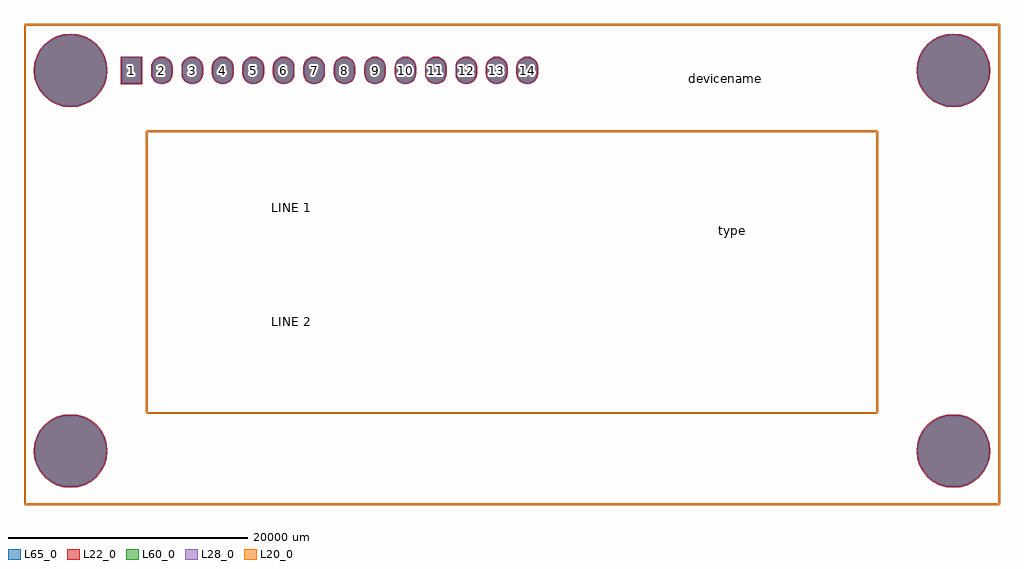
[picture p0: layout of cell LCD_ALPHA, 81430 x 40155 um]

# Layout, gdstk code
import gdstk
lib = gdstk.Library(unit=1e-6, precision=1e-09)
def R(c, l, rs):  # rectangles x0, y0, x1, y1
    for r in rs: c.add(gdstk.rectangle(r[:2], r[2:], *l))
def P(c, l, *ps):  # polygons
    for p in ps: c.add(gdstk.Polygon(p, *l))
L20_0 = (20, 0)
L22_0 = (22, 0)
L28_0 = (28, 0)
L60_0 = (60, 0)
L65_0 = (65, 0)

lcd_alpha = lib.new_cell('LCD_ALPHA')
R(lcd_alpha, L22_0, [(-17410.5,-1154.5,-15609.5,1154.5)])
P(lcd_alpha, L22_0, [(55144.74,-31750),(55085.66,-31150.148),(54910.689,-30573.348),(54626.553,-30041.766),(54244.17,-29575.83),(53778.234,-29193.447),(53246.652,-28909.311),(52669.852,-28734.34),(52070,-28675.26),(51470.148,-28734.34),(50893.348,-28909.311),(50361.766,-29193.447),(49895.83,-29575.83),(49513.447,-30041.766),(49229.311,-30573.348),(49054.34,-31150.148),(48995.26,-31750),(49054.34,-32349.852),(49229.311,-32926.652),(49513.447,-33458.234),(49895.83,-33924.17),(50361.766,-34306.553),(50893.348,-34590.689),(51470.148,-34765.66),(52070,-34824.74),(52669.852,-34765.66),(53246.652,-34590.689),(53778.234,-34306.553),(54244.17,-33924.17),(54626.553,-33458.234),(54910.689,-32926.652),(55085.66,-32349.852)],
  [(-18515.26,-31750),(-18574.34,-31150.148),(-18749.311,-30573.348),(-19033.447,-30041.766),(-19415.83,-29575.83),(-19881.766,-29193.447),(-20413.348,-28909.311),(-20990.148,-28734.34),(-21590,-28675.26),(-22189.852,-28734.34),(-22766.652,-28909.311),(-23298.234,-29193.447),(-23764.17,-29575.83),(-24146.553,-30041.766),(-24430.689,-30573.348),(-24605.66,-31150.148),(-24664.74,-31750),(-24605.66,-32349.852),(-24430.689,-32926.652),(-24146.553,-33458.234),(-23764.17,-33924.17),(-23298.234,-34306.553),(-22766.652,-34590.689),(-22189.852,-34765.66),(-21590,-34824.74),(-20990.148,-34765.66),(-20413.348,-34590.689),(-19881.766,-34306.553),(-19415.83,-33924.17),(-19033.447,-33458.234),(-18749.311,-32926.652),(-18574.34,-32349.852)],
  [(55144.74,0),(55085.66,599.852),(54910.689,1176.652),(54626.553,1708.234),(54244.17,2174.17),(53778.234,2556.553),(53246.652,2840.689),(52669.852,3015.66),(52070,3074.74),(51470.148,3015.66),(50893.348,2840.689),(50361.766,2556.553),(49895.83,2174.17),(49513.447,1708.234),(49229.311,1176.652),(49054.34,599.852),(48995.26,0),(49054.34,-599.852),(49229.311,-1176.652),(49513.447,-1708.234),(49895.83,-2174.17),(50361.766,-2556.553),(50893.348,-2840.689),(51470.148,-3015.66),(52070,-3074.74),(52669.852,-3015.66),(53246.652,-2840.689),(53778.234,-2556.553),(54244.17,-2174.17),(54626.553,-1708.234),(54910.689,-1176.652),(55085.66,-599.852)],
  [(-18515.26,0),(-18574.34,599.852),(-18749.311,1176.652),(-19033.447,1708.234),(-19415.83,2174.17),(-19881.766,2556.553),(-20413.348,2840.689),(-20990.148,3015.66),(-21590,3074.74),(-22189.852,3015.66),(-22766.652,2840.689),(-23298.234,2556.553),(-23764.17,2174.17),(-24146.553,1708.234),(-24430.689,1176.652),(-24605.66,599.852),(-24664.74,0),(-24605.66,-599.852),(-24430.689,-1176.652),(-24146.553,-1708.234),(-23764.17,-2174.17),(-23298.234,-2556.553),(-22766.652,-2840.689),(-22189.852,-3015.66),(-21590,-3074.74),(-20990.148,-3015.66),(-20413.348,-2840.689),(-19881.766,-2556.553),(-19415.83,-2174.17),(-19033.447,-1708.234),(-18749.311,-1176.652),(-18574.34,-599.852)],
  [(16510,-1154.5),(16743.067,-1123.816),(16960.25,-1033.856),(17146.75,-890.75),(17289.856,-704.25),(17379.816,-487.067),(17410.5,-254),(17410.5,254),(17379.816,487.067),(17289.856,704.25),(17146.75,890.75),(16960.25,1033.856),(16743.067,1123.816),(16510,1154.5),(16276.933,1123.816),(16059.75,1033.856),(15873.25,890.75),(15730.144,704.25),(15640.184,487.067),(15609.5,254),(15609.5,-254),(15640.184,-487.067),(15730.144,-704.25),(15873.25,-890.75),(16059.75,-1033.856),(16276.933,-1123.816)],
  [(13970,-1154.5),(14203.067,-1123.816),(14420.25,-1033.856),(14606.75,-890.75),(14749.856,-704.25),(14839.816,-487.067),(14870.5,-254),(14870.5,254),(14839.816,487.067),(14749.856,704.25),(14606.75,890.75),(14420.25,1033.856),(14203.067,1123.816),(13970,1154.5),(13736.933,1123.816),(13519.75,1033.856),(13333.25,890.75),(13190.144,704.25),(13100.184,487.067),(13069.5,254),(13069.5,-254),(13100.184,-487.067),(13190.144,-704.25),(13333.25,-890.75),(13519.75,-1033.856),(13736.933,-1123.816)],
  [(11430,-1154.5),(11663.067,-1123.816),(11880.25,-1033.856),(12066.75,-890.75),(12209.856,-704.25),(12299.816,-487.067),(12330.5,-254),(12330.5,254),(12299.816,487.067),(12209.856,704.25),(12066.75,890.75),(11880.25,1033.856),(11663.067,1123.816),(11430,1154.5),(11196.933,1123.816),(10979.75,1033.856),(10793.25,890.75),(10650.144,704.25),(10560.184,487.067),(10529.5,254),(10529.5,-254),(10560.184,-487.067),(10650.144,-704.25),(10793.25,-890.75),(10979.75,-1033.856),(11196.933,-1123.816)],
  [(8890,-1154.5),(9123.067,-1123.816),(9340.25,-1033.856),(9526.75,-890.75),(9669.856,-704.25),(9759.816,-487.067),(9790.5,-254),(9790.5,254),(9759.816,487.067),(9669.856,704.25),(9526.75,890.75),(9340.25,1033.856),(9123.067,1123.816),(8890,1154.5),(8656.933,1123.816),(8439.75,1033.856),(8253.25,890.75),(8110.144,704.25),(8020.184,487.067),(7989.5,254),(7989.5,-254),(8020.184,-487.067),(8110.144,-704.25),(8253.25,-890.75),(8439.75,-1033.856),(8656.933,-1123.816)],
  [(6350,-1154.5),(6583.067,-1123.816),(6800.25,-1033.856),(6986.75,-890.75),(7129.856,-704.25),(7219.816,-487.067),(7250.5,-254),(7250.5,254),(7219.816,487.067),(7129.856,704.25),(6986.75,890.75),(6800.25,1033.856),(6583.067,1123.816),(6350,1154.5),(6116.933,1123.816),(5899.75,1033.856),(5713.25,890.75),(5570.144,704.25),(5480.184,487.067),(5449.5,254),(5449.5,-254),(5480.184,-487.067),(5570.144,-704.25),(5713.25,-890.75),(5899.75,-1033.856),(6116.933,-1123.816)],
  [(3810,-1154.5),(4043.067,-1123.816),(4260.25,-1033.856),(4446.75,-890.75),(4589.856,-704.25),(4679.816,-487.067),(4710.5,-254),(4710.5,254),(4679.816,487.067),(4589.856,704.25),(4446.75,890.75),(4260.25,1033.856),(4043.067,1123.816),(3810,1154.5),(3576.933,1123.816),(3359.75,1033.856),(3173.25,890.75),(3030.144,704.25),(2940.184,487.067),(2909.5,254),(2909.5,-254),(2940.184,-487.067),(3030.144,-704.25),(3173.25,-890.75),(3359.75,-1033.856),(3576.933,-1123.816)],
  [(1270,-1154.5),(1503.067,-1123.816),(1720.25,-1033.856),(1906.75,-890.75),(2049.856,-704.25),(2139.816,-487.067),(2170.5,-254),(2170.5,254),(2139.816,487.067),(2049.856,704.25),(1906.75,890.75),(1720.25,1033.856),(1503.067,1123.816),(1270,1154.5),(1036.933,1123.816),(819.75,1033.856),(633.25,890.75),(490.144,704.25),(400.184,487.067),(369.5,254),(369.5,-254),(400.184,-487.067),(490.144,-704.25),(633.25,-890.75),(819.75,-1033.856),(1036.933,-1123.816)],
  [(-1270,-1154.5),(-1036.933,-1123.816),(-819.75,-1033.856),(-633.25,-890.75),(-490.144,-704.25),(-400.184,-487.067),(-369.5,-254),(-369.5,254),(-400.184,487.067),(-490.144,704.25),(-633.25,890.75),(-819.75,1033.856),(-1036.933,1123.816),(-1270,1154.5),(-1503.067,1123.816),(-1720.25,1033.856),(-1906.75,890.75),(-2049.856,704.25),(-2139.816,487.067),(-2170.5,254),(-2170.5,-254),(-2139.816,-487.067),(-2049.856,-704.25),(-1906.75,-890.75),(-1720.25,-1033.856),(-1503.067,-1123.816)],
  [(-3810,-1154.5),(-3576.933,-1123.816),(-3359.75,-1033.856),(-3173.25,-890.75),(-3030.144,-704.25),(-2940.184,-487.067),(-2909.5,-254),(-2909.5,254),(-2940.184,487.067),(-3030.144,704.25),(-3173.25,890.75),(-3359.75,1033.856),(-3576.933,1123.816),(-3810,1154.5),(-4043.067,1123.816),(-4260.25,1033.856),(-4446.75,890.75),(-4589.856,704.25),(-4679.816,487.067),(-4710.5,254),(-4710.5,-254),(-4679.816,-487.067),(-4589.856,-704.25),(-4446.75,-890.75),(-4260.25,-1033.856),(-4043.067,-1123.816)],
  [(-6350,-1154.5),(-6116.933,-1123.816),(-5899.75,-1033.856),(-5713.25,-890.75),(-5570.144,-704.25),(-5480.184,-487.067),(-5449.5,-254),(-5449.5,254),(-5480.184,487.067),(-5570.144,704.25),(-5713.25,890.75),(-5899.75,1033.856),(-6116.933,1123.816),(-6350,1154.5),(-6583.067,1123.816),(-6800.25,1033.856),(-6986.75,890.75),(-7129.856,704.25),(-7219.816,487.067),(-7250.5,254),(-7250.5,-254),(-7219.816,-487.067),(-7129.856,-704.25),(-6986.75,-890.75),(-6800.25,-1033.856),(-6583.067,-1123.816)],
  [(-8890,-1154.5),(-8656.933,-1123.816),(-8439.75,-1033.856),(-8253.25,-890.75),(-8110.144,-704.25),(-8020.184,-487.067),(-7989.5,-254),(-7989.5,254),(-8020.184,487.067),(-8110.144,704.25),(-8253.25,890.75),(-8439.75,1033.856),(-8656.933,1123.816),(-8890,1154.5),(-9123.067,1123.816),(-9340.25,1033.856),(-9526.75,890.75),(-9669.856,704.25),(-9759.816,487.067),(-9790.5,254),(-9790.5,-254),(-9759.816,-487.067),(-9669.856,-704.25),(-9526.75,-890.75),(-9340.25,-1033.856),(-9123.067,-1123.816)],
  [(-11430,-1154.5),(-11196.933,-1123.816),(-10979.75,-1033.856),(-10793.25,-890.75),(-10650.144,-704.25),(-10560.184,-487.067),(-10529.5,-254),(-10529.5,254),(-10560.184,487.067),(-10650.144,704.25),(-10793.25,890.75),(-10979.75,1033.856),(-11196.933,1123.816),(-11430,1154.5),(-11663.067,1123.816),(-11880.25,1033.856),(-12066.75,890.75),(-12209.856,704.25),(-12299.816,487.067),(-12330.5,254),(-12330.5,-254),(-12299.816,-487.067),(-12209.856,-704.25),(-12066.75,-890.75),(-11880.25,-1033.856),(-11663.067,-1123.816)],
  [(-13970,-1154.5),(-13736.933,-1123.816),(-13519.75,-1033.856),(-13333.25,-890.75),(-13190.144,-704.25),(-13100.184,-487.067),(-13069.5,-254),(-13069.5,254),(-13100.184,487.067),(-13190.144,704.25),(-13333.25,890.75),(-13519.75,1033.856),(-13736.933,1123.816),(-13970,1154.5),(-14203.067,1123.816),(-14420.25,1033.856),(-14606.75,890.75),(-14749.856,704.25),(-14839.816,487.067),(-14870.5,254),(-14870.5,-254),(-14839.816,-487.067),(-14749.856,-704.25),(-14606.75,-890.75),(-14420.25,-1033.856),(-14203.067,-1123.816)])
R(lcd_alpha, L28_0, [(-17335.5,-1079.5,-15684.5,1079.5)])
P(lcd_alpha, L28_0, [(55069.74,-31750),(55012.101,-31164.78),(54841.398,-30602.049),(54564.193,-30083.434),(54191.136,-29628.864),(53736.566,-29255.807),(53217.951,-28978.602),(52655.22,-28807.899),(52070,-28750.26),(51484.78,-28807.899),(50922.049,-28978.602),(50403.434,-29255.807),(49948.864,-29628.864),(49575.807,-30083.434),(49298.602,-30602.049),(49127.899,-31164.78),(49070.26,-31750),(49127.899,-32335.22),(49298.602,-32897.951),(49575.807,-33416.566),(49948.864,-33871.136),(50403.434,-34244.193),(50922.049,-34521.398),(51484.78,-34692.101),(52070,-34749.74),(52655.22,-34692.101),(53217.951,-34521.398),(53736.566,-34244.193),(54191.136,-33871.136),(54564.193,-33416.566),(54841.398,-32897.951),(55012.101,-32335.22)],
  [(-18590.26,-31750),(-18647.899,-31164.78),(-18818.602,-30602.049),(-19095.807,-30083.434),(-19468.864,-29628.864),(-19923.434,-29255.807),(-20442.049,-28978.602),(-21004.78,-28807.899),(-21590,-28750.26),(-22175.22,-28807.899),(-22737.951,-28978.602),(-23256.566,-29255.807),(-23711.136,-29628.864),(-24084.193,-30083.434),(-24361.398,-30602.049),(-24532.101,-31164.78),(-24589.74,-31750),(-24532.101,-32335.22),(-24361.398,-32897.951),(-24084.193,-33416.566),(-23711.136,-33871.136),(-23256.566,-34244.193),(-22737.951,-34521.398),(-22175.22,-34692.101),(-21590,-34749.74),(-21004.78,-34692.101),(-20442.049,-34521.398),(-19923.434,-34244.193),(-19468.864,-33871.136),(-19095.807,-33416.566),(-18818.602,-32897.951),(-18647.899,-32335.22)],
  [(55069.74,0),(55012.101,585.22),(54841.398,1147.951),(54564.193,1666.566),(54191.136,2121.136),(53736.566,2494.193),(53217.951,2771.398),(52655.22,2942.101),(52070,2999.74),(51484.78,2942.101),(50922.049,2771.398),(50403.434,2494.193),(49948.864,2121.136),(49575.807,1666.566),(49298.602,1147.951),(49127.899,585.22),(49070.26,0),(49127.899,-585.22),(49298.602,-1147.951),(49575.807,-1666.566),(49948.864,-2121.136),(50403.434,-2494.193),(50922.049,-2771.398),(51484.78,-2942.101),(52070,-2999.74),(52655.22,-2942.101),(53217.951,-2771.398),(53736.566,-2494.193),(54191.136,-2121.136),(54564.193,-1666.566),(54841.398,-1147.951),(55012.101,-585.22)],
  [(-18590.26,0),(-18647.899,585.22),(-18818.602,1147.951),(-19095.807,1666.566),(-19468.864,2121.136),(-19923.434,2494.193),(-20442.049,2771.398),(-21004.78,2942.101),(-21590,2999.74),(-22175.22,2942.101),(-22737.951,2771.398),(-23256.566,2494.193),(-23711.136,2121.136),(-24084.193,1666.566),(-24361.398,1147.951),(-24532.101,585.22),(-24589.74,0),(-24532.101,-585.22),(-24361.398,-1147.951),(-24084.193,-1666.566),(-23711.136,-2121.136),(-23256.566,-2494.193),(-22737.951,-2771.398),(-22175.22,-2942.101),(-21590,-2999.74),(-21004.78,-2942.101),(-20442.049,-2771.398),(-19923.434,-2494.193),(-19468.864,-2121.136),(-19095.807,-1666.566),(-18818.602,-1147.951),(-18647.899,-585.22)],
  [(16510,-1079.5),(16723.655,-1051.372),(16922.75,-968.904),(17093.717,-837.717),(17224.904,-666.75),(17307.372,-467.655),(17335.5,-254),(17335.5,254),(17307.372,467.655),(17224.904,666.75),(17093.717,837.717),(16922.75,968.904),(16723.655,1051.372),(16510,1079.5),(16296.345,1051.372),(16097.25,968.904),(15926.283,837.717),(15795.096,666.75),(15712.628,467.655),(15684.5,254),(15684.5,-254),(15712.628,-467.655),(15795.096,-666.75),(15926.283,-837.717),(16097.25,-968.904),(16296.345,-1051.372)],
  [(13970,-1079.5),(14183.655,-1051.372),(14382.75,-968.904),(14553.717,-837.717),(14684.904,-666.75),(14767.372,-467.655),(14795.5,-254),(14795.5,254),(14767.372,467.655),(14684.904,666.75),(14553.717,837.717),(14382.75,968.904),(14183.655,1051.372),(13970,1079.5),(13756.345,1051.372),(13557.25,968.904),(13386.283,837.717),(13255.096,666.75),(13172.628,467.655),(13144.5,254),(13144.5,-254),(13172.628,-467.655),(13255.096,-666.75),(13386.283,-837.717),(13557.25,-968.904),(13756.345,-1051.372)],
  [(11430,-1079.5),(11643.655,-1051.372),(11842.75,-968.904),(12013.717,-837.717),(12144.904,-666.75),(12227.372,-467.655),(12255.5,-254),(12255.5,254),(12227.372,467.655),(12144.904,666.75),(12013.717,837.717),(11842.75,968.904),(11643.655,1051.372),(11430,1079.5),(11216.345,1051.372),(11017.25,968.904),(10846.283,837.717),(10715.096,666.75),(10632.628,467.655),(10604.5,254),(10604.5,-254),(10632.628,-467.655),(10715.096,-666.75),(10846.283,-837.717),(11017.25,-968.904),(11216.345,-1051.372)],
  [(8890,-1079.5),(9103.655,-1051.372),(9302.75,-968.904),(9473.717,-837.717),(9604.904,-666.75),(9687.372,-467.655),(9715.5,-254),(9715.5,254),(9687.372,467.655),(9604.904,666.75),(9473.717,837.717),(9302.75,968.904),(9103.655,1051.372),(8890,1079.5),(8676.345,1051.372),(8477.25,968.904),(8306.283,837.717),(8175.096,666.75),(8092.628,467.655),(8064.5,254),(8064.5,-254),(8092.628,-467.655),(8175.096,-666.75),(8306.283,-837.717),(8477.25,-968.904),(8676.345,-1051.372)],
  [(6350,-1079.5),(6563.655,-1051.372),(6762.75,-968.904),(6933.717,-837.717),(7064.904,-666.75),(7147.372,-467.655),(7175.5,-254),(7175.5,254),(7147.372,467.655),(7064.904,666.75),(6933.717,837.717),(6762.75,968.904),(6563.655,1051.372),(6350,1079.5),(6136.345,1051.372),(5937.25,968.904),(5766.283,837.717),(5635.096,666.75),(5552.628,467.655),(5524.5,254),(5524.5,-254),(5552.628,-467.655),(5635.096,-666.75),(5766.283,-837.717),(5937.25,-968.904),(6136.345,-1051.372)],
  [(3810,-1079.5),(4023.655,-1051.372),(4222.75,-968.904),(4393.717,-837.717),(4524.904,-666.75),(4607.372,-467.655),(4635.5,-254),(4635.5,254),(4607.372,467.655),(4524.904,666.75),(4393.717,837.717),(4222.75,968.904),(4023.655,1051.372),(3810,1079.5),(3596.345,1051.372),(3397.25,968.904),(3226.283,837.717),(3095.096,666.75),(3012.628,467.655),(2984.5,254),(2984.5,-254),(3012.628,-467.655),(3095.096,-666.75),(3226.283,-837.717),(3397.25,-968.904),(3596.345,-1051.372)],
  [(1270,-1079.5),(1483.655,-1051.372),(1682.75,-968.904),(1853.717,-837.717),(1984.904,-666.75),(2067.372,-467.655),(2095.5,-254),(2095.5,254),(2067.372,467.655),(1984.904,666.75),(1853.717,837.717),(1682.75,968.904),(1483.655,1051.372),(1270,1079.5),(1056.345,1051.372),(857.25,968.904),(686.283,837.717),(555.096,666.75),(472.628,467.655),(444.5,254),(444.5,-254),(472.628,-467.655),(555.096,-666.75),(686.283,-837.717),(857.25,-968.904),(1056.345,-1051.372)],
  [(-1270,-1079.5),(-1056.345,-1051.372),(-857.25,-968.904),(-686.283,-837.717),(-555.096,-666.75),(-472.628,-467.655),(-444.5,-254),(-444.5,254),(-472.628,467.655),(-555.096,666.75),(-686.283,837.717),(-857.25,968.904),(-1056.345,1051.372),(-1270,1079.5),(-1483.655,1051.372),(-1682.75,968.904),(-1853.717,837.717),(-1984.904,666.75),(-2067.372,467.655),(-2095.5,254),(-2095.5,-254),(-2067.372,-467.655),(-1984.904,-666.75),(-1853.717,-837.717),(-1682.75,-968.904),(-1483.655,-1051.372)],
  [(-3810,-1079.5),(-3596.345,-1051.372),(-3397.25,-968.904),(-3226.283,-837.717),(-3095.096,-666.75),(-3012.628,-467.655),(-2984.5,-254),(-2984.5,254),(-3012.628,467.655),(-3095.096,666.75),(-3226.283,837.717),(-3397.25,968.904),(-3596.345,1051.372),(-3810,1079.5),(-4023.655,1051.372),(-4222.75,968.904),(-4393.717,837.717),(-4524.904,666.75),(-4607.372,467.655),(-4635.5,254),(-4635.5,-254),(-4607.372,-467.655),(-4524.904,-666.75),(-4393.717,-837.717),(-4222.75,-968.904),(-4023.655,-1051.372)],
  [(-6350,-1079.5),(-6136.345,-1051.372),(-5937.25,-968.904),(-5766.283,-837.717),(-5635.096,-666.75),(-5552.628,-467.655),(-5524.5,-254),(-5524.5,254),(-5552.628,467.655),(-5635.096,666.75),(-5766.283,837.717),(-5937.25,968.904),(-6136.345,1051.372),(-6350,1079.5),(-6563.655,1051.372),(-6762.75,968.904),(-6933.717,837.717),(-7064.904,666.75),(-7147.372,467.655),(-7175.5,254),(-7175.5,-254),(-7147.372,-467.655),(-7064.904,-666.75),(-6933.717,-837.717),(-6762.75,-968.904),(-6563.655,-1051.372)],
  [(-8890,-1079.5),(-8676.345,-1051.372),(-8477.25,-968.904),(-8306.283,-837.717),(-8175.096,-666.75),(-8092.628,-467.655),(-8064.5,-254),(-8064.5,254),(-8092.628,467.655),(-8175.096,666.75),(-8306.283,837.717),(-8477.25,968.904),(-8676.345,1051.372),(-8890,1079.5),(-9103.655,1051.372),(-9302.75,968.904),(-9473.717,837.717),(-9604.904,666.75),(-9687.372,467.655),(-9715.5,254),(-9715.5,-254),(-9687.372,-467.655),(-9604.904,-666.75),(-9473.717,-837.717),(-9302.75,-968.904),(-9103.655,-1051.372)],
  [(-11430,-1079.5),(-11216.345,-1051.372),(-11017.25,-968.904),(-10846.283,-837.717),(-10715.096,-666.75),(-10632.628,-467.655),(-10604.5,-254),(-10604.5,254),(-10632.628,467.655),(-10715.096,666.75),(-10846.283,837.717),(-11017.25,968.904),(-11216.345,1051.372),(-11430,1079.5),(-11643.655,1051.372),(-11842.75,968.904),(-12013.717,837.717),(-12144.904,666.75),(-12227.372,467.655),(-12255.5,254),(-12255.5,-254),(-12227.372,-467.655),(-12144.904,-666.75),(-12013.717,-837.717),(-11842.75,-968.904),(-11643.655,-1051.372)],
  [(-13970,-1079.5),(-13756.345,-1051.372),(-13557.25,-968.904),(-13386.283,-837.717),(-13255.096,-666.75),(-13172.628,-467.655),(-13144.5,-254),(-13144.5,254),(-13172.628,467.655),(-13255.096,666.75),(-13386.283,837.717),(-13557.25,968.904),(-13756.345,1051.372),(-13970,1079.5),(-14183.655,1051.372),(-14382.75,968.904),(-14553.717,837.717),(-14684.904,666.75),(-14767.372,467.655),(-14795.5,254),(-14795.5,-254),(-14767.372,-467.655),(-14684.904,-666.75),(-14553.717,-837.717),(-14382.75,-968.904),(-14183.655,-1051.372)])
R(lcd_alpha, L60_0, [(-17335.5,-1079.5,-15684.5,1079.5)])
P(lcd_alpha, L60_0, [(55069.74,-31750),(55012.101,-31164.78),(54841.398,-30602.049),(54564.193,-30083.434),(54191.136,-29628.864),(53736.566,-29255.807),(53217.951,-28978.602),(52655.22,-28807.899),(52070,-28750.26),(51484.78,-28807.899),(50922.049,-28978.602),(50403.434,-29255.807),(49948.864,-29628.864),(49575.807,-30083.434),(49298.602,-30602.049),(49127.899,-31164.78),(49070.26,-31750),(49127.899,-32335.22),(49298.602,-32897.951),(49575.807,-33416.566),(49948.864,-33871.136),(50403.434,-34244.193),(50922.049,-34521.398),(51484.78,-34692.101),(52070,-34749.74),(52655.22,-34692.101),(53217.951,-34521.398),(53736.566,-34244.193),(54191.136,-33871.136),(54564.193,-33416.566),(54841.398,-32897.951),(55012.101,-32335.22)],
  [(-18590.26,-31750),(-18647.899,-31164.78),(-18818.602,-30602.049),(-19095.807,-30083.434),(-19468.864,-29628.864),(-19923.434,-29255.807),(-20442.049,-28978.602),(-21004.78,-28807.899),(-21590,-28750.26),(-22175.22,-28807.899),(-22737.951,-28978.602),(-23256.566,-29255.807),(-23711.136,-29628.864),(-24084.193,-30083.434),(-24361.398,-30602.049),(-24532.101,-31164.78),(-24589.74,-31750),(-24532.101,-32335.22),(-24361.398,-32897.951),(-24084.193,-33416.566),(-23711.136,-33871.136),(-23256.566,-34244.193),(-22737.951,-34521.398),(-22175.22,-34692.101),(-21590,-34749.74),(-21004.78,-34692.101),(-20442.049,-34521.398),(-19923.434,-34244.193),(-19468.864,-33871.136),(-19095.807,-33416.566),(-18818.602,-32897.951),(-18647.899,-32335.22)],
  [(55069.74,0),(55012.101,585.22),(54841.398,1147.951),(54564.193,1666.566),(54191.136,2121.136),(53736.566,2494.193),(53217.951,2771.398),(52655.22,2942.101),(52070,2999.74),(51484.78,2942.101),(50922.049,2771.398),(50403.434,2494.193),(49948.864,2121.136),(49575.807,1666.566),(49298.602,1147.951),(49127.899,585.22),(49070.26,0),(49127.899,-585.22),(49298.602,-1147.951),(49575.807,-1666.566),(49948.864,-2121.136),(50403.434,-2494.193),(50922.049,-2771.398),(51484.78,-2942.101),(52070,-2999.74),(52655.22,-2942.101),(53217.951,-2771.398),(53736.566,-2494.193),(54191.136,-2121.136),(54564.193,-1666.566),(54841.398,-1147.951),(55012.101,-585.22)],
  [(-18590.26,0),(-18647.899,585.22),(-18818.602,1147.951),(-19095.807,1666.566),(-19468.864,2121.136),(-19923.434,2494.193),(-20442.049,2771.398),(-21004.78,2942.101),(-21590,2999.74),(-22175.22,2942.101),(-22737.951,2771.398),(-23256.566,2494.193),(-23711.136,2121.136),(-24084.193,1666.566),(-24361.398,1147.951),(-24532.101,585.22),(-24589.74,0),(-24532.101,-585.22),(-24361.398,-1147.951),(-24084.193,-1666.566),(-23711.136,-2121.136),(-23256.566,-2494.193),(-22737.951,-2771.398),(-22175.22,-2942.101),(-21590,-2999.74),(-21004.78,-2942.101),(-20442.049,-2771.398),(-19923.434,-2494.193),(-19468.864,-2121.136),(-19095.807,-1666.566),(-18818.602,-1147.951),(-18647.899,-585.22)],
  [(16510,-1079.5),(16723.655,-1051.372),(16922.75,-968.904),(17093.717,-837.717),(17224.904,-666.75),(17307.372,-467.655),(17335.5,-254),(17335.5,254),(17307.372,467.655),(17224.904,666.75),(17093.717,837.717),(16922.75,968.904),(16723.655,1051.372),(16510,1079.5),(16296.345,1051.372),(16097.25,968.904),(15926.283,837.717),(15795.096,666.75),(15712.628,467.655),(15684.5,254),(15684.5,-254),(15712.628,-467.655),(15795.096,-666.75),(15926.283,-837.717),(16097.25,-968.904),(16296.345,-1051.372)],
  [(13970,-1079.5),(14183.655,-1051.372),(14382.75,-968.904),(14553.717,-837.717),(14684.904,-666.75),(14767.372,-467.655),(14795.5,-254),(14795.5,254),(14767.372,467.655),(14684.904,666.75),(14553.717,837.717),(14382.75,968.904),(14183.655,1051.372),(13970,1079.5),(13756.345,1051.372),(13557.25,968.904),(13386.283,837.717),(13255.096,666.75),(13172.628,467.655),(13144.5,254),(13144.5,-254),(13172.628,-467.655),(13255.096,-666.75),(13386.283,-837.717),(13557.25,-968.904),(13756.345,-1051.372)],
  [(11430,-1079.5),(11643.655,-1051.372),(11842.75,-968.904),(12013.717,-837.717),(12144.904,-666.75),(12227.372,-467.655),(12255.5,-254),(12255.5,254),(12227.372,467.655),(12144.904,666.75),(12013.717,837.717),(11842.75,968.904),(11643.655,1051.372),(11430,1079.5),(11216.345,1051.372),(11017.25,968.904),(10846.283,837.717),(10715.096,666.75),(10632.628,467.655),(10604.5,254),(10604.5,-254),(10632.628,-467.655),(10715.096,-666.75),(10846.283,-837.717),(11017.25,-968.904),(11216.345,-1051.372)],
  [(8890,-1079.5),(9103.655,-1051.372),(9302.75,-968.904),(9473.717,-837.717),(9604.904,-666.75),(9687.372,-467.655),(9715.5,-254),(9715.5,254),(9687.372,467.655),(9604.904,666.75),(9473.717,837.717),(9302.75,968.904),(9103.655,1051.372),(8890,1079.5),(8676.345,1051.372),(8477.25,968.904),(8306.283,837.717),(8175.096,666.75),(8092.628,467.655),(8064.5,254),(8064.5,-254),(8092.628,-467.655),(8175.096,-666.75),(8306.283,-837.717),(8477.25,-968.904),(8676.345,-1051.372)],
  [(6350,-1079.5),(6563.655,-1051.372),(6762.75,-968.904),(6933.717,-837.717),(7064.904,-666.75),(7147.372,-467.655),(7175.5,-254),(7175.5,254),(7147.372,467.655),(7064.904,666.75),(6933.717,837.717),(6762.75,968.904),(6563.655,1051.372),(6350,1079.5),(6136.345,1051.372),(5937.25,968.904),(5766.283,837.717),(5635.096,666.75),(5552.628,467.655),(5524.5,254),(5524.5,-254),(5552.628,-467.655),(5635.096,-666.75),(5766.283,-837.717),(5937.25,-968.904),(6136.345,-1051.372)],
  [(3810,-1079.5),(4023.655,-1051.372),(4222.75,-968.904),(4393.717,-837.717),(4524.904,-666.75),(4607.372,-467.655),(4635.5,-254),(4635.5,254),(4607.372,467.655),(4524.904,666.75),(4393.717,837.717),(4222.75,968.904),(4023.655,1051.372),(3810,1079.5),(3596.345,1051.372),(3397.25,968.904),(3226.283,837.717),(3095.096,666.75),(3012.628,467.655),(2984.5,254),(2984.5,-254),(3012.628,-467.655),(3095.096,-666.75),(3226.283,-837.717),(3397.25,-968.904),(3596.345,-1051.372)],
  [(1270,-1079.5),(1483.655,-1051.372),(1682.75,-968.904),(1853.717,-837.717),(1984.904,-666.75),(2067.372,-467.655),(2095.5,-254),(2095.5,254),(2067.372,467.655),(1984.904,666.75),(1853.717,837.717),(1682.75,968.904),(1483.655,1051.372),(1270,1079.5),(1056.345,1051.372),(857.25,968.904),(686.283,837.717),(555.096,666.75),(472.628,467.655),(444.5,254),(444.5,-254),(472.628,-467.655),(555.096,-666.75),(686.283,-837.717),(857.25,-968.904),(1056.345,-1051.372)],
  [(-1270,-1079.5),(-1056.345,-1051.372),(-857.25,-968.904),(-686.283,-837.717),(-555.096,-666.75),(-472.628,-467.655),(-444.5,-254),(-444.5,254),(-472.628,467.655),(-555.096,666.75),(-686.283,837.717),(-857.25,968.904),(-1056.345,1051.372),(-1270,1079.5),(-1483.655,1051.372),(-1682.75,968.904),(-1853.717,837.717),(-1984.904,666.75),(-2067.372,467.655),(-2095.5,254),(-2095.5,-254),(-2067.372,-467.655),(-1984.904,-666.75),(-1853.717,-837.717),(-1682.75,-968.904),(-1483.655,-1051.372)],
  [(-3810,-1079.5),(-3596.345,-1051.372),(-3397.25,-968.904),(-3226.283,-837.717),(-3095.096,-666.75),(-3012.628,-467.655),(-2984.5,-254),(-2984.5,254),(-3012.628,467.655),(-3095.096,666.75),(-3226.283,837.717),(-3397.25,968.904),(-3596.345,1051.372),(-3810,1079.5),(-4023.655,1051.372),(-4222.75,968.904),(-4393.717,837.717),(-4524.904,666.75),(-4607.372,467.655),(-4635.5,254),(-4635.5,-254),(-4607.372,-467.655),(-4524.904,-666.75),(-4393.717,-837.717),(-4222.75,-968.904),(-4023.655,-1051.372)],
  [(-6350,-1079.5),(-6136.345,-1051.372),(-5937.25,-968.904),(-5766.283,-837.717),(-5635.096,-666.75),(-5552.628,-467.655),(-5524.5,-254),(-5524.5,254),(-5552.628,467.655),(-5635.096,666.75),(-5766.283,837.717),(-5937.25,968.904),(-6136.345,1051.372),(-6350,1079.5),(-6563.655,1051.372),(-6762.75,968.904),(-6933.717,837.717),(-7064.904,666.75),(-7147.372,467.655),(-7175.5,254),(-7175.5,-254),(-7147.372,-467.655),(-7064.904,-666.75),(-6933.717,-837.717),(-6762.75,-968.904),(-6563.655,-1051.372)],
  [(-8890,-1079.5),(-8676.345,-1051.372),(-8477.25,-968.904),(-8306.283,-837.717),(-8175.096,-666.75),(-8092.628,-467.655),(-8064.5,-254),(-8064.5,254),(-8092.628,467.655),(-8175.096,666.75),(-8306.283,837.717),(-8477.25,968.904),(-8676.345,1051.372),(-8890,1079.5),(-9103.655,1051.372),(-9302.75,968.904),(-9473.717,837.717),(-9604.904,666.75),(-9687.372,467.655),(-9715.5,254),(-9715.5,-254),(-9687.372,-467.655),(-9604.904,-666.75),(-9473.717,-837.717),(-9302.75,-968.904),(-9103.655,-1051.372)],
  [(-11430,-1079.5),(-11216.345,-1051.372),(-11017.25,-968.904),(-10846.283,-837.717),(-10715.096,-666.75),(-10632.628,-467.655),(-10604.5,-254),(-10604.5,254),(-10632.628,467.655),(-10715.096,666.75),(-10846.283,837.717),(-11017.25,968.904),(-11216.345,1051.372),(-11430,1079.5),(-11643.655,1051.372),(-11842.75,968.904),(-12013.717,837.717),(-12144.904,666.75),(-12227.372,467.655),(-12255.5,254),(-12255.5,-254),(-12227.372,-467.655),(-12144.904,-666.75),(-12013.717,-837.717),(-11842.75,-968.904),(-11643.655,-1051.372)],
  [(-13970,-1079.5),(-13756.345,-1051.372),(-13557.25,-968.904),(-13386.283,-837.717),(-13255.096,-666.75),(-13172.628,-467.655),(-13144.5,-254),(-13144.5,254),(-13172.628,467.655),(-13255.096,666.75),(-13386.283,837.717),(-13557.25,968.904),(-13756.345,1051.372),(-13970,1079.5),(-14183.655,1051.372),(-14382.75,968.904),(-14553.717,837.717),(-14684.904,666.75),(-14767.372,467.655),(-14795.5,254),(-14795.5,-254),(-14767.372,-467.655),(-14684.904,-666.75),(-14553.717,-837.717),(-14382.75,-968.904),(-14183.655,-1051.372)])
R(lcd_alpha, L65_0, [(-17410.5,-1154.5,-15609.5,1154.5)])
P(lcd_alpha, L65_0, [(55144.74,-31750),(55085.66,-31150.148),(54910.689,-30573.348),(54626.553,-30041.766),(54244.17,-29575.83),(53778.234,-29193.447),(53246.652,-28909.311),(52669.852,-28734.34),(52070,-28675.26),(51470.148,-28734.34),(50893.348,-28909.311),(50361.766,-29193.447),(49895.83,-29575.83),(49513.447,-30041.766),(49229.311,-30573.348),(49054.34,-31150.148),(48995.26,-31750),(49054.34,-32349.852),(49229.311,-32926.652),(49513.447,-33458.234),(49895.83,-33924.17),(50361.766,-34306.553),(50893.348,-34590.689),(51470.148,-34765.66),(52070,-34824.74),(52669.852,-34765.66),(53246.652,-34590.689),(53778.234,-34306.553),(54244.17,-33924.17),(54626.553,-33458.234),(54910.689,-32926.652),(55085.66,-32349.852)],
  [(-18515.26,-31750),(-18574.34,-31150.148),(-18749.311,-30573.348),(-19033.447,-30041.766),(-19415.83,-29575.83),(-19881.766,-29193.447),(-20413.348,-28909.311),(-20990.148,-28734.34),(-21590,-28675.26),(-22189.852,-28734.34),(-22766.652,-28909.311),(-23298.234,-29193.447),(-23764.17,-29575.83),(-24146.553,-30041.766),(-24430.689,-30573.348),(-24605.66,-31150.148),(-24664.74,-31750),(-24605.66,-32349.852),(-24430.689,-32926.652),(-24146.553,-33458.234),(-23764.17,-33924.17),(-23298.234,-34306.553),(-22766.652,-34590.689),(-22189.852,-34765.66),(-21590,-34824.74),(-20990.148,-34765.66),(-20413.348,-34590.689),(-19881.766,-34306.553),(-19415.83,-33924.17),(-19033.447,-33458.234),(-18749.311,-32926.652),(-18574.34,-32349.852)],
  [(55144.74,0),(55085.66,599.852),(54910.689,1176.652),(54626.553,1708.234),(54244.17,2174.17),(53778.234,2556.553),(53246.652,2840.689),(52669.852,3015.66),(52070,3074.74),(51470.148,3015.66),(50893.348,2840.689),(50361.766,2556.553),(49895.83,2174.17),(49513.447,1708.234),(49229.311,1176.652),(49054.34,599.852),(48995.26,0),(49054.34,-599.852),(49229.311,-1176.652),(49513.447,-1708.234),(49895.83,-2174.17),(50361.766,-2556.553),(50893.348,-2840.689),(51470.148,-3015.66),(52070,-3074.74),(52669.852,-3015.66),(53246.652,-2840.689),(53778.234,-2556.553),(54244.17,-2174.17),(54626.553,-1708.234),(54910.689,-1176.652),(55085.66,-599.852)],
  [(-18515.26,0),(-18574.34,599.852),(-18749.311,1176.652),(-19033.447,1708.234),(-19415.83,2174.17),(-19881.766,2556.553),(-20413.348,2840.689),(-20990.148,3015.66),(-21590,3074.74),(-22189.852,3015.66),(-22766.652,2840.689),(-23298.234,2556.553),(-23764.17,2174.17),(-24146.553,1708.234),(-24430.689,1176.652),(-24605.66,599.852),(-24664.74,0),(-24605.66,-599.852),(-24430.689,-1176.652),(-24146.553,-1708.234),(-23764.17,-2174.17),(-23298.234,-2556.553),(-22766.652,-2840.689),(-22189.852,-3015.66),(-21590,-3074.74),(-20990.148,-3015.66),(-20413.348,-2840.689),(-19881.766,-2556.553),(-19415.83,-2174.17),(-19033.447,-1708.234),(-18749.311,-1176.652),(-18574.34,-599.852)],
  [(16510,-1154.5),(16743.067,-1123.816),(16960.25,-1033.856),(17146.75,-890.75),(17289.856,-704.25),(17379.816,-487.067),(17410.5,-254),(17410.5,254),(17379.816,487.067),(17289.856,704.25),(17146.75,890.75),(16960.25,1033.856),(16743.067,1123.816),(16510,1154.5),(16276.933,1123.816),(16059.75,1033.856),(15873.25,890.75),(15730.144,704.25),(15640.184,487.067),(15609.5,254),(15609.5,-254),(15640.184,-487.067),(15730.144,-704.25),(15873.25,-890.75),(16059.75,-1033.856),(16276.933,-1123.816)],
  [(13970,-1154.5),(14203.067,-1123.816),(14420.25,-1033.856),(14606.75,-890.75),(14749.856,-704.25),(14839.816,-487.067),(14870.5,-254),(14870.5,254),(14839.816,487.067),(14749.856,704.25),(14606.75,890.75),(14420.25,1033.856),(14203.067,1123.816),(13970,1154.5),(13736.933,1123.816),(13519.75,1033.856),(13333.25,890.75),(13190.144,704.25),(13100.184,487.067),(13069.5,254),(13069.5,-254),(13100.184,-487.067),(13190.144,-704.25),(13333.25,-890.75),(13519.75,-1033.856),(13736.933,-1123.816)],
  [(11430,-1154.5),(11663.067,-1123.816),(11880.25,-1033.856),(12066.75,-890.75),(12209.856,-704.25),(12299.816,-487.067),(12330.5,-254),(12330.5,254),(12299.816,487.067),(12209.856,704.25),(12066.75,890.75),(11880.25,1033.856),(11663.067,1123.816),(11430,1154.5),(11196.933,1123.816),(10979.75,1033.856),(10793.25,890.75),(10650.144,704.25),(10560.184,487.067),(10529.5,254),(10529.5,-254),(10560.184,-487.067),(10650.144,-704.25),(10793.25,-890.75),(10979.75,-1033.856),(11196.933,-1123.816)],
  [(8890,-1154.5),(9123.067,-1123.816),(9340.25,-1033.856),(9526.75,-890.75),(9669.856,-704.25),(9759.816,-487.067),(9790.5,-254),(9790.5,254),(9759.816,487.067),(9669.856,704.25),(9526.75,890.75),(9340.25,1033.856),(9123.067,1123.816),(8890,1154.5),(8656.933,1123.816),(8439.75,1033.856),(8253.25,890.75),(8110.144,704.25),(8020.184,487.067),(7989.5,254),(7989.5,-254),(8020.184,-487.067),(8110.144,-704.25),(8253.25,-890.75),(8439.75,-1033.856),(8656.933,-1123.816)],
  [(6350,-1154.5),(6583.067,-1123.816),(6800.25,-1033.856),(6986.75,-890.75),(7129.856,-704.25),(7219.816,-487.067),(7250.5,-254),(7250.5,254),(7219.816,487.067),(7129.856,704.25),(6986.75,890.75),(6800.25,1033.856),(6583.067,1123.816),(6350,1154.5),(6116.933,1123.816),(5899.75,1033.856),(5713.25,890.75),(5570.144,704.25),(5480.184,487.067),(5449.5,254),(5449.5,-254),(5480.184,-487.067),(5570.144,-704.25),(5713.25,-890.75),(5899.75,-1033.856),(6116.933,-1123.816)],
  [(3810,-1154.5),(4043.067,-1123.816),(4260.25,-1033.856),(4446.75,-890.75),(4589.856,-704.25),(4679.816,-487.067),(4710.5,-254),(4710.5,254),(4679.816,487.067),(4589.856,704.25),(4446.75,890.75),(4260.25,1033.856),(4043.067,1123.816),(3810,1154.5),(3576.933,1123.816),(3359.75,1033.856),(3173.25,890.75),(3030.144,704.25),(2940.184,487.067),(2909.5,254),(2909.5,-254),(2940.184,-487.067),(3030.144,-704.25),(3173.25,-890.75),(3359.75,-1033.856),(3576.933,-1123.816)],
  [(1270,-1154.5),(1503.067,-1123.816),(1720.25,-1033.856),(1906.75,-890.75),(2049.856,-704.25),(2139.816,-487.067),(2170.5,-254),(2170.5,254),(2139.816,487.067),(2049.856,704.25),(1906.75,890.75),(1720.25,1033.856),(1503.067,1123.816),(1270,1154.5),(1036.933,1123.816),(819.75,1033.856),(633.25,890.75),(490.144,704.25),(400.184,487.067),(369.5,254),(369.5,-254),(400.184,-487.067),(490.144,-704.25),(633.25,-890.75),(819.75,-1033.856),(1036.933,-1123.816)],
  [(-1270,-1154.5),(-1036.933,-1123.816),(-819.75,-1033.856),(-633.25,-890.75),(-490.144,-704.25),(-400.184,-487.067),(-369.5,-254),(-369.5,254),(-400.184,487.067),(-490.144,704.25),(-633.25,890.75),(-819.75,1033.856),(-1036.933,1123.816),(-1270,1154.5),(-1503.067,1123.816),(-1720.25,1033.856),(-1906.75,890.75),(-2049.856,704.25),(-2139.816,487.067),(-2170.5,254),(-2170.5,-254),(-2139.816,-487.067),(-2049.856,-704.25),(-1906.75,-890.75),(-1720.25,-1033.856),(-1503.067,-1123.816)],
  [(-3810,-1154.5),(-3576.933,-1123.816),(-3359.75,-1033.856),(-3173.25,-890.75),(-3030.144,-704.25),(-2940.184,-487.067),(-2909.5,-254),(-2909.5,254),(-2940.184,487.067),(-3030.144,704.25),(-3173.25,890.75),(-3359.75,1033.856),(-3576.933,1123.816),(-3810,1154.5),(-4043.067,1123.816),(-4260.25,1033.856),(-4446.75,890.75),(-4589.856,704.25),(-4679.816,487.067),(-4710.5,254),(-4710.5,-254),(-4679.816,-487.067),(-4589.856,-704.25),(-4446.75,-890.75),(-4260.25,-1033.856),(-4043.067,-1123.816)],
  [(-6350,-1154.5),(-6116.933,-1123.816),(-5899.75,-1033.856),(-5713.25,-890.75),(-5570.144,-704.25),(-5480.184,-487.067),(-5449.5,-254),(-5449.5,254),(-5480.184,487.067),(-5570.144,704.25),(-5713.25,890.75),(-5899.75,1033.856),(-6116.933,1123.816),(-6350,1154.5),(-6583.067,1123.816),(-6800.25,1033.856),(-6986.75,890.75),(-7129.856,704.25),(-7219.816,487.067),(-7250.5,254),(-7250.5,-254),(-7219.816,-487.067),(-7129.856,-704.25),(-6986.75,-890.75),(-6800.25,-1033.856),(-6583.067,-1123.816)],
  [(-8890,-1154.5),(-8656.933,-1123.816),(-8439.75,-1033.856),(-8253.25,-890.75),(-8110.144,-704.25),(-8020.184,-487.067),(-7989.5,-254),(-7989.5,254),(-8020.184,487.067),(-8110.144,704.25),(-8253.25,890.75),(-8439.75,1033.856),(-8656.933,1123.816),(-8890,1154.5),(-9123.067,1123.816),(-9340.25,1033.856),(-9526.75,890.75),(-9669.856,704.25),(-9759.816,487.067),(-9790.5,254),(-9790.5,-254),(-9759.816,-487.067),(-9669.856,-704.25),(-9526.75,-890.75),(-9340.25,-1033.856),(-9123.067,-1123.816)],
  [(-11430,-1154.5),(-11196.933,-1123.816),(-10979.75,-1033.856),(-10793.25,-890.75),(-10650.144,-704.25),(-10560.184,-487.067),(-10529.5,-254),(-10529.5,254),(-10560.184,487.067),(-10650.144,704.25),(-10793.25,890.75),(-10979.75,1033.856),(-11196.933,1123.816),(-11430,1154.5),(-11663.067,1123.816),(-11880.25,1033.856),(-12066.75,890.75),(-12209.856,704.25),(-12299.816,487.067),(-12330.5,254),(-12330.5,-254),(-12299.816,-487.067),(-12209.856,-704.25),(-12066.75,-890.75),(-11880.25,-1033.856),(-11663.067,-1123.816)],
  [(-13970,-1154.5),(-13736.933,-1123.816),(-13519.75,-1033.856),(-13333.25,-890.75),(-13190.144,-704.25),(-13100.184,-487.067),(-13069.5,-254),(-13069.5,254),(-13100.184,487.067),(-13190.144,704.25),(-13333.25,890.75),(-13519.75,1033.856),(-13736.933,1123.816),(-13970,1154.5),(-14203.067,1123.816),(-14420.25,1033.856),(-14606.75,890.75),(-14749.856,704.25),(-14839.816,487.067),(-14870.5,254),(-14870.5,-254),(-14839.816,-487.067),(-14749.856,-704.25),(-14606.75,-890.75),(-14420.25,-1033.856),(-14203.067,-1123.816)])
lcd_alpha.add(gdstk.FlexPath([(-25400,-36195),(-25400,3810)], 149.998, ends="flush", simple_path=True, layer=20, datatype=0))  # L20_0
lcd_alpha.add(gdstk.FlexPath([(55880,-36195),(-25400,-36195)], 149.998, ends="flush", simple_path=True, layer=20, datatype=0))  # L20_0
lcd_alpha.add(gdstk.FlexPath([(55880,3810),(55880,-36195)], 149.998, ends="flush", simple_path=True, layer=20, datatype=0))  # L20_0
lcd_alpha.add(gdstk.FlexPath([(-25400,3810),(55880,3810)], 149.998, ends="flush", simple_path=True, layer=20, datatype=0))  # L20_0
lcd_alpha.add(gdstk.FlexPath([(-15240,-28575),(-15240,-5080)], 149.998, ends="flush", simple_path=True, layer=20, datatype=0))  # L20_0
lcd_alpha.add(gdstk.FlexPath([(45720,-28575),(-15240,-28575)], 149.998, ends="flush", simple_path=True, layer=20, datatype=0))  # L20_0
lcd_alpha.add(gdstk.FlexPath([(45720,-5080),(45720,-28575)], 149.998, ends="flush", simple_path=True, layer=20, datatype=0))  # L20_0
lcd_alpha.add(gdstk.FlexPath([(-15240,-5080),(45720,-5080)], 149.998, ends="flush", simple_path=True, layer=20, datatype=0))  # L20_0
lcd_alpha.add(gdstk.Label('14', (16510,0), layer=28, texttype=0))
lcd_alpha.add(gdstk.Label('13', (13970,0), layer=28, texttype=0))
lcd_alpha.add(gdstk.Label('12', (11430,0), layer=28, texttype=0))
lcd_alpha.add(gdstk.Label('11', (8890,0), layer=28, texttype=0))
lcd_alpha.add(gdstk.Label('10', (6350,0), layer=28, texttype=0))
lcd_alpha.add(gdstk.Label('9', (3810,0), layer=28, texttype=0))
lcd_alpha.add(gdstk.Label('8', (1270,0), layer=28, texttype=0))
lcd_alpha.add(gdstk.Label('7', (-1270,0), layer=28, texttype=0))
lcd_alpha.add(gdstk.Label('6', (-3810,0), layer=28, texttype=0))
lcd_alpha.add(gdstk.Label('5', (-6350,0), layer=28, texttype=0))
lcd_alpha.add(gdstk.Label('4', (-8890,0), layer=28, texttype=0))
lcd_alpha.add(gdstk.Label('3', (-11430,0), layer=28, texttype=0))
lcd_alpha.add(gdstk.Label('2', (-13970,0), layer=28, texttype=0))
lcd_alpha.add(gdstk.Label('1', (-16510,0), layer=28, texttype=0))
lcd_alpha.add(gdstk.Label('LINE 1', (-3175,-11430), layer=9, texttype=0))
lcd_alpha.add(gdstk.Label('LINE 2', (-3175,-20955), layer=9, texttype=0))
lcd_alpha.add(gdstk.Label('type', (33655,-13335), layer=9, texttype=0))
lcd_alpha.add(gdstk.Label('devicename', (33020,-635), layer=9, texttype=0))

lib.write_gds('LCD_ALPHA.gds')
